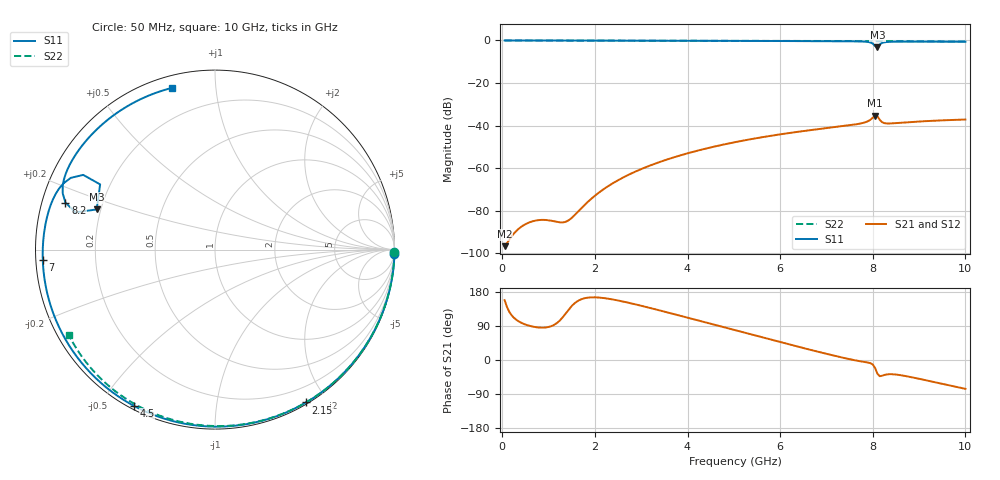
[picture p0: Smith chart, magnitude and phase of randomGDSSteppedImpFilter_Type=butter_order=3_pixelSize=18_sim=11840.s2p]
! freq	dB(S11)	phase(S11)	dB(S12)	phase(S12)
!  dB(S21)	phase(S21)	dB(S22)	phase(S22)
!S-par simulation data
#  GHz  S  DB  R 50
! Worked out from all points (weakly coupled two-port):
!   200 points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, 50 MHz to 10 GHz, reference 50 ohm
!   highest |S21| = -35.29 dB at 8.05 GHz (marker M1); lowest = -96.6 dB at 50 MHz (marker M2)
!   lowest |S11| = -3.1 dB at 8.1 GHz (marker M3), VSWR 5.58, Z = 9.19 + j7.98 ohm
!   |S11| at or under -10 dB: nowhere
!   |S22| runs from -0.5 to 0.0 dB; largest |S21 - S12| = 0
!   S11 on the Smith chart (normalised r, x): 50 MHz: 0, -80; 2.15 GHz: 0.02, -1.76; 4.5 GHz: 0.01, -0.61; 7 GHz: 0.02, -0.03; 8.2 GHz: 0.07, +0.15; 10 GHz: 0.06, +0.77
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0.05  -0.00 -1.4  -96.62 158.0  -96.62 158.0  -0.00 -0.9
0.8  -0.03 -22.6  -84.35 85.6  -84.35 85.6  -0.02 -13.7
1.65  -0.06 -45.9  -80.08 157.1  -80.08 157.1  -0.04 -28.1
1.75  -0.06 -48.6  -77.85 162.1  -77.85 162.1  -0.04 -29.8
2.15  -0.08 -59.2  -70.45 164.1  -70.45 164.1  -0.05 -36.4
2.7  -0.09 -73.5  -63.38 151.8  -63.38 151.8  -0.06 -45.4
3.4  -0.12 -91.0  -57.08 130.8  -57.08 130.8  -0.07 -56.5
4.5  -0.17 -117.5  -50.24 95.5  -50.24 95.5  -0.11 -73.5
5.05  -0.20 -130.4  -47.67 77.7  -47.67 77.7  -0.13 -81.6
5.9  -0.25 -150.2  -44.43 50.4  -44.43 50.4  -0.16 -93.9
6.7  -0.32 -169.2  -41.99 25.4  -41.99 25.4  -0.20 -105.1
7  -0.34 -176.6  -41.18 16.3  -41.18 16.3  -0.22 -109.2
7.8  -0.53 160.7  -38.67 -4.8  -38.67 -4.8  -0.28 -120.1
7.95  -0.94 153.5  -37.24 -8.4  -37.24 -8.4  -0.29 -122.1
8  -1.47 150.5  -36.31 -11.9  -36.31 -11.9  -0.30 -122.8
8.05  -2.66 150.4  -35.29 -21.1  -35.29 -21.1  -0.30 -123.4
8.1  -3.15 161.3  -35.59 -36.1  -35.59 -36.1  -0.30 -124.1
8.15  -1.89 165.1  -37.25 -42.8  -37.25 -42.8  -0.31 -124.8
8.2  -1.18 162.6  -38.37 -41.6  -38.37 -41.6  -0.31 -125.5
8.35  -0.65 155.1  -39.00 -37.5  -39.00 -37.5  -0.33 -127.5
9.1  -0.55 131.6  -37.95 -52.2  -37.95 -52.2  -0.40 -137.5
10  -0.61 104.8  -37.14 -76.1  -37.14 -76.1  -0.50 -149.6
